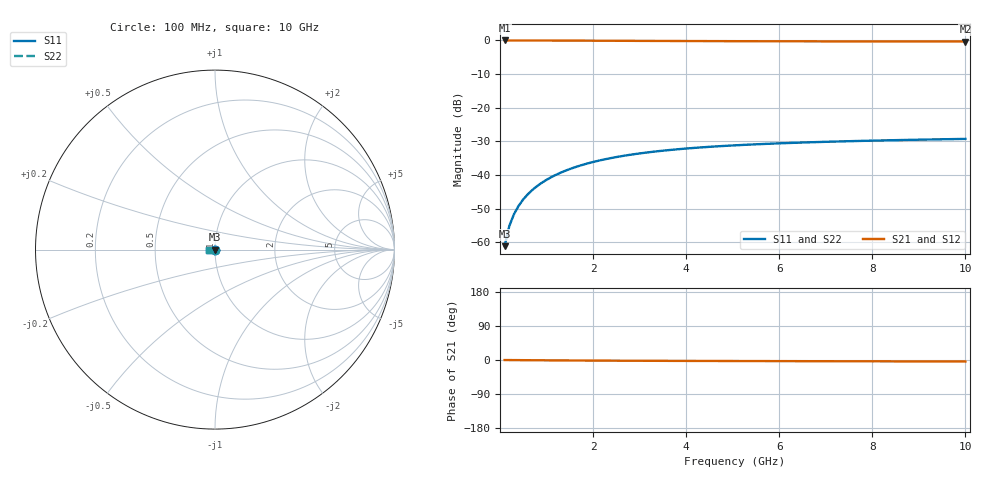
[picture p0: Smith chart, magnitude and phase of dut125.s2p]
! Touchstone file exported from HFSS 2024.1.0
!  File:  C:/UserFiles/LocalFiles/RDL_TSV_Batchsim/temp_TSV1_125_1779379118.aedt
!  Generated:  12:02:58 AM May 22, 2026
!  Design:  TSV1
!  Project:  temp_TSV1_125_1779379118
!  Setup:  Setup1
!  Solution:  Sweep
! Variables:
!  dtsv = 8.9um
!  hbump = 3um
!  htsv = 59.98um
!  lrdl = 252.1521522um
!  p = 40
!  p1 = 41.78um
!  t = 500um
!  trdl = 3um
!  wrdl = 24.89489489um
# GHz S MA R 50.000000
! Terminal data exported
! Port[1] = TSV22_T1
! Port[2] = TSV22_T2
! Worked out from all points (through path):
!   100 points, 100 MHz to 10 GHz, reference 50 ohm
!   highest |S21| = 0.00 dB at 100 MHz (marker M1); lowest = -0.3 dB at 10 GHz (marker M2)
!   lowest |S11| = -61.1 dB at 100 MHz (marker M3), VSWR 1.00, Z = 50 - j0.087 ohm
!   |S11| at or under -10 dB: start of sweep to end of sweep
!   |S22| runs from -61.1 to -29.2 dB; largest |S21 - S12| = 3.2e-15
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0.1  0.0008796 -81.3  0.9998 -0.1  0.9998 -0.1  0.0008796 -81.3
! Gamma 0 0 0 0
! Port Impedance 50 0 50 0
0.2  0.001748 -87.8  0.9997 -0.2  0.9997 -0.2  0.001748 -87.8
0.3  0.002621 -91.1  0.9996 -0.3  0.9996 -0.3  0.002621 -91.1
0.4  0.003489 -93.7  0.9994 -0.4  0.9994 -0.4  0.003489 -93.7
0.5  0.004351 -95.8  0.9992 -0.4  0.9992 -0.4  0.004351 -95.8
0.6  0.005204 -97.8  0.9989 -0.5  0.9989 -0.5  0.005204 -97.8
0.7  0.006047 -99.7  0.9986 -0.6  0.9986 -0.6  0.006047 -99.7
0.8  0.006879 -101.4  0.9982 -0.7  0.9982 -0.7  0.006879 -101.4
0.9  0.007698 -103.1  0.9978 -0.8  0.9978 -0.8  0.007698 -103.1
1.1  0.009295 -106.4  0.9969 -0.9  0.9969 -0.9  0.009295 -106.4
1.4  0.01157 -111.1  0.9954 -1.2  0.9954 -1.2  0.01157 -111.1
1.6  0.013 -114.1  0.9942 -1.3  0.9942 -1.3  0.013 -114.1
1.8  0.01436 -116.9  0.993 -1.4  0.993 -1.4  0.01436 -116.9
2.1  0.01625 -121.0  0.9911 -1.6  0.9911 -1.6  0.01625 -121.0
2.5  0.01853 -126.0  0.9886 -1.8  0.9886 -1.8  0.01852 -126.0
2.9  0.02052 -130.6  0.9861 -2.0  0.9861 -2.0  0.02052 -130.6
3.4  0.02266 -135.8  0.9832 -2.2  0.9832 -2.2  0.02266 -135.8
4.2  0.02542 -143.1  0.9791 -2.5  0.9791 -2.5  0.02542 -143.1
5.1  0.02779 -150.0  0.9752 -2.7  0.9752 -2.7  0.02779 -150.0
6.7  0.03077 -159.9  0.9702 -3.1  0.9702 -3.1  0.03077 -159.9
8.4  0.03294 -168.2  0.9665 -3.5  0.9665 -3.5  0.03294 -168.2
10  0.03449 -174.7  0.9641 -3.9  0.9641 -3.9  0.03449 -174.7
